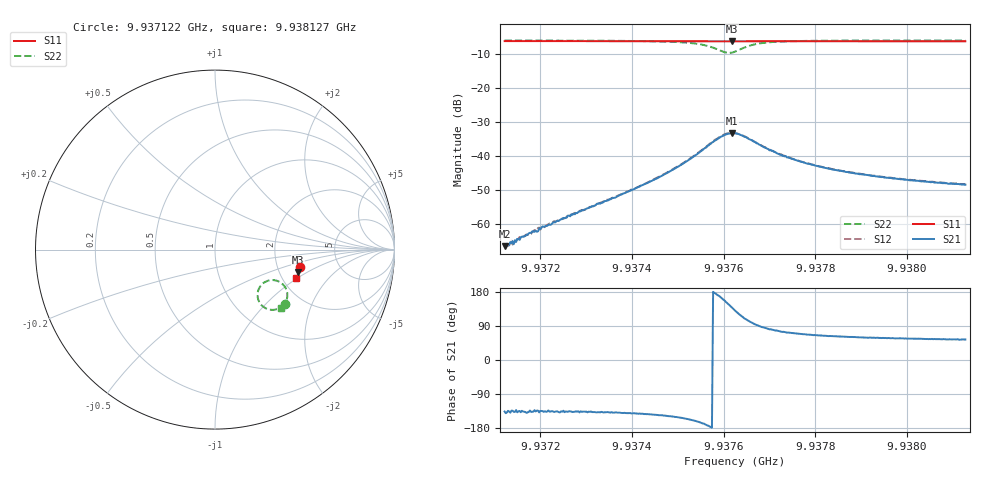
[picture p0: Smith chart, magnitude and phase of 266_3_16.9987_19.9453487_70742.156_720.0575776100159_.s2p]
#  HZ  S  RI  R  50.00
! Rohde & Schwarz Vector Network Analyzer
! Rohde-Schwarz,ZNB20-2Port,1311601062101988,3.16
! Created: UTC 3/20/2024, 11:04:00 PM
! freq[Hz]  re:S11  im:S11  re:S21  im:S21  re:S12  im:S12  re:S22  im:S22
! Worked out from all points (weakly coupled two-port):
!   401 points, 9.937122 GHz to 9.938127 GHz, reference 50 ohm
!   highest |S21| = -33.43 dB at 9.937617 GHz (marker M1); lowest = -66.7 dB at 9.937122 GHz (marker M2)
!   lowest |S11| = -6.4 dB at 9.937617 GHz (marker M3), VSWR 2.84, Z = 126 - j41.6 ohm
!   |S11| at or under -10 dB: nowhere
!   |S22| runs from -9.8 to -6.1 dB; largest |S21 - S12| = 0.00095
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9.9371225e9  0.4746 -0.0955  -0.000333 -0.000322  -0.00036 -0.000302  0.3927 -0.301
9.937135e9  0.4744 -0.0963  -0.000402 -0.000351  -0.000376 -0.000343  0.3917 -0.3018
9.9371551e9  0.4741 -0.0977  -0.000402 -0.000409  -0.00047 -0.000422  0.3902 -0.3033
9.9371752e9  0.4739 -0.099  -0.000526 -0.000487  -0.00052 -0.000485  0.3887 -0.3049
9.9371928e9  0.4734 -0.1003  -0.000521 -0.000549  -0.000564 -0.00054  0.3874 -0.306
9.9372255e9  0.4728 -0.1024  -0.000701 -0.000699  -0.000759 -0.000681  0.3846 -0.3087
9.9372908e9  0.4714 -0.1069  -0.00113 -0.00107  -0.00117 -0.00107  0.3779 -0.3142
9.9373662e9  0.4701 -0.112  -0.00183 -0.00163  -0.0019 -0.00166  0.3678 -0.3217
9.9374591e9  0.4678 -0.1182  -0.00398 -0.00271  -0.00407 -0.00271  0.3452 -0.332
9.9375068e9  0.4665 -0.1215  -0.00643 -0.00338  -0.00661 -0.00328  0.3222 -0.3357
9.9375596e9  0.4648 -0.1249  -0.0127 -0.00231  -0.0129 -0.00206  0.2718 -0.3203
9.9375948e9  0.4631 -0.1265  -0.0183 0.00516  -0.0185 0.0058  0.2369 -0.2535
9.9376073e9  0.4627 -0.1267  -0.018 0.0101  -0.0181 0.0109  0.246 -0.2149
9.9376174e9  0.4625 -0.127  -0.0162 0.0138  -0.0159 0.0147  0.2674 -0.1884
9.9376249e9  0.4627 -0.1271  -0.0138 0.0161  -0.0135 0.0168  0.2892 -0.1757
9.9376525e9  0.4632 -0.1287  -0.00452 0.0174  -0.00407 0.0177  0.363 -0.1816
9.9376827e9  0.4632 -0.1307  0.000718 0.0139  0.000922 0.0141  0.3956 -0.2185
9.9377279e9  0.4625 -0.1342  0.00272 0.00959  0.00295 0.00976  0.4032 -0.2563
9.9377932e9  0.461 -0.1387  0.00297 0.00672  0.00311 0.00671  0.398 -0.2837
9.9378711e9  0.4592 -0.144  0.00277 0.005  0.00286 0.00497  0.39 -0.3005
9.9379615e9  0.457 -0.1501  0.00251 0.00397  0.00259 0.00395  0.3823 -0.3124
9.9381274e9  0.4527 -0.1607  0.00219 0.00302  0.00226 0.003  0.3702 -0.3269
